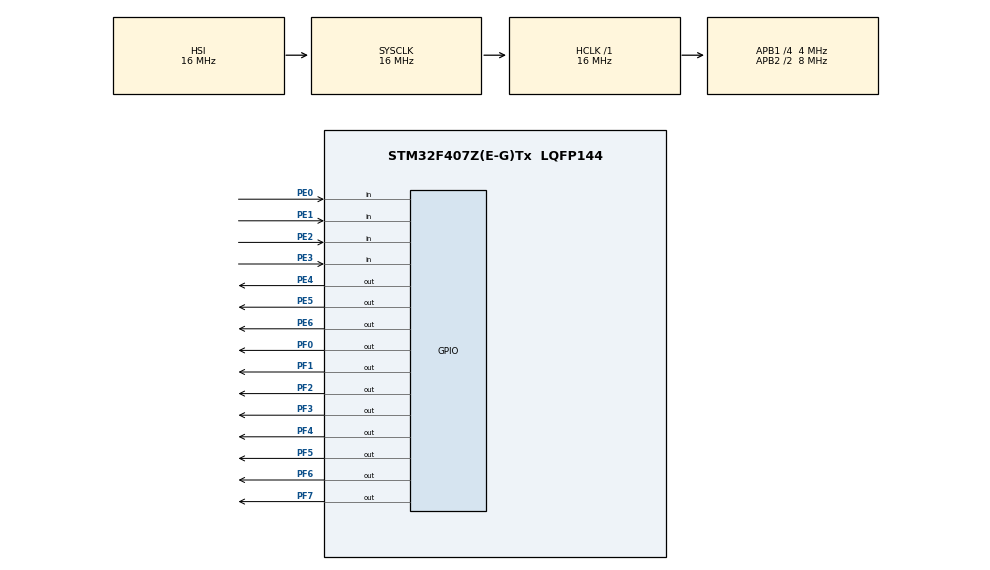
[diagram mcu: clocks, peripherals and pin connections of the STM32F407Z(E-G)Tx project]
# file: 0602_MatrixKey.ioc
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Mcu.Family=STM32F4
Mcu.Name=STM32F407Z(E-G)Tx
Mcu.Package=LQFP144
NVIC.PriorityGroup=NVIC_PRIORITYGROUP_4
NVIC.TIM6_DAC_IRQn=true\:15\:0\:false\:false\:true\:false\:true\:true
NVIC.TimeBase=TIM6_DAC_IRQn
NVIC.TimeBaseIP=TIM6
PA13.Mode=Serial_Wire
PA13.Signal=SYS_JTMS-SWDIO
PA14.Mode=Serial_Wire
PA14.Signal=SYS_JTCK-SWCLK
PE0.GPIO_PuPd=GPIO_PULLUP
PE0.Signal=GPIO_Input
PE1.GPIO_PuPd=GPIO_PULLUP
PE1.Signal=GPIO_Input
PE2.GPIO_PuPd=GPIO_PULLUP
PE2.Signal=GPIO_Input
PE3.GPIO_PuPd=GPIO_PULLUP
PE3.Signal=GPIO_Input
PE4.PinState=GPIO_PIN_SET
PE4.Signal=GPIO_Output
PE5.GPIO_Speed=GPIO_SPEED_FREQ_LOW
PE5.PinState=GPIO_PIN_SET
PE5.Signal=GPIO_Output
PE6.PinState=GPIO_PIN_SET
PE6.Signal=GPIO_Output
PF0.GPIO_Speed=GPIO_SPEED_FREQ_LOW
PF0.PinState=GPIO_PIN_SET
PF0.Signal=GPIO_Output
PF1.PinState=GPIO_PIN_SET
PF1.Signal=GPIO_Output
PF2.PinState=GPIO_PIN_SET
PF2.Signal=GPIO_Output
PF3.PinState=GPIO_PIN_SET
PF3.Signal=GPIO_Output
PF4.PinState=GPIO_PIN_SET
PF4.Signal=GPIO_Output
PF5.PinState=GPIO_PIN_SET
PF5.Signal=GPIO_Output
PF6.PinState=GPIO_PIN_SET
PF6.Signal=GPIO_Output
PF7.PinState=GPIO_PIN_SET
PF7.Signal=GPIO_Output
ProjectManager.HeapSize=0x200
ProjectManager.StackSize=0x400
ProjectManager.TargetToolchain=STM32CubeIDE
RCC.48MHZClocksFreq_Value=84000000
RCC.AHBFreq_Value=16000000
RCC.APB1CLKDivider=RCC_HCLK_DIV4
RCC.APB1Freq_Value=4000000
RCC.APB1TimFreq_Value=8000000
RCC.APB2CLKDivider=RCC_HCLK_DIV2
RCC.APB2Freq_Value=8000000
RCC.APB2TimFreq_Value=16000000
RCC.CortexFreq_Value=16000000
RCC.HCLKFreq_Value=16000000
RCC.HSE_VALUE=8000000
RCC.HSI_VALUE=16000000
RCC.LSE_VALUE=32768
RCC.PLLM=8
RCC.PLLN=168
RCC.SYSCLKFreq_VALUE=16000000
RCC.VCOOutputFreq_Value=336000000
VP_SYS_VS_tim6.Mode=TIM6
board=custom

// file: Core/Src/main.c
/* USER CODE BEGIN Header */

/**
  ******************************************************************************
  * @file           : main.c
  * @brief          : Main program body
  ******************************************************************************
  * @attention
  *
  * Copyright (c) 2026 STMicroelectronics.
  * All rights reserved.
  *
  * This software is licensed under terms that can be found in the LICENSE file
  * in the root directory of this software component.
  * If no LICENSE file comes with this software, it is provided AS-IS.
  *
  ******************************************************************************
  */
/* USER CODE END Header */
#include "main.h"
#include "gpio.h"

/* USER CODE BEGIN PV */
uint8_t KeyScan(void);
void Delay_ms(uint32_t t);

/* USER CODE END PV */

void SystemClock_Config(void);

int main(void)
{

  /* USER CODE BEGIN 1 */
	uint16_t i, KeyVal = 0;
	  uint8_t PreLine[3] = {0, 1, 2};
  /* USER CODE END 1 */

  /* MCU Configuration--------------------------------------------------------*/

  /* Reset of all peripherals, Initializes the Flash interface and the Systick. */
  HAL_Init();

  /* Configure the system clock */
  SystemClock_Config();

  /* Initialize all configured peripherals */
  MX_GPIO_Init();
  /* USER CODE BEGIN 2 */
  GPIOE->ODR = ~(1 << 4);
  /* USER CODE END 2 */

  /* Infinite loop */
  /* USER CODE BEGIN WHILE */
  while (1)
  {
	  for (i = 0; i < 3; i++)
	      {
	        GPIOE->ODR = ~(1 << (i + 4));

	        HAL_Delay(1);

	        if ((GPIOE->IDR & 0x0F) != 0x0F)
	        {
	          HAL_Delay(10);

	          if ((GPIOE->IDR & 0x0F) != 0x0F)
	          {
	            switch ((GPIOE->IDR & 0x0F))
	            {
	              case 0x0E: KeyVal = 4 * PreLine[i] + 1; break;
	              case 0x0D: KeyVal = 4 * PreLine[i] + 2; break;
	              case 0x0B: KeyVal = 4 * PreLine[i] + 3; break;
	              case 0x07: KeyVal = 4 * PreLine[i] + 4; break;
	              default  : break;
	            }

	            // while((GPIOE->IDR & 0x0F) != 0x0F);
	          }
	        }
	      }

	      GPIOF->ODR = ~((KeyVal / 10 << 4) + KeyVal % 10);
    /* USER CODE END WHILE */

  }
}

void SystemClock_Config(void)
{
  RCC_OscInitTypeDef RCC_OscInitStruct = {0};
  RCC_ClkInitTypeDef RCC_ClkInitStruct = {0};

  /** Configure the main internal regulator output voltage
  */
  __HAL_RCC_PWR_CLK_ENABLE();
  __HAL_PWR_VOLTAGESCALING_CONFIG(PWR_REGULATOR_VOLTAGE_SCALE1);

  /** Initializes the RCC Oscillators according to the specified parameters
  * in the RCC_OscInitTypeDef structure.
  */
  RCC_OscInitStruct.OscillatorType = RCC_OSCILLATORTYPE_HSI;
  RCC_OscInitStruct.HSIState = RCC_HSI_ON;
  RCC_OscInitStruct.HSICalibrationValue = RCC_HSICALIBRATION_DEFAULT;
  RCC_OscInitStruct.PLL.PLLState = RCC_PLL_NONE;
  if (HAL_RCC_OscConfig(&RCC_OscInitStruct) != HAL_OK)
  {
    Error_Handler();
  }

  /** Initializes the CPU, AHB and APB buses clocks
  */
  RCC_ClkInitStruct.ClockType = RCC_CLOCKTYPE_HCLK|RCC_CLOCKTYPE_SYSCLK
                              |RCC_CLOCKTYPE_PCLK1|RCC_CLOCKTYPE_PCLK2;
  RCC_ClkInitStruct.SYSCLKSource = RCC_SYSCLKSOURCE_HSI;
  RCC_ClkInitStruct.AHBCLKDivider = RCC_SYSCLK_DIV1;
  RCC_ClkInitStruct.APB1CLKDivider = RCC_HCLK_DIV4;
  RCC_ClkInitStruct.APB2CLKDivider = RCC_HCLK_DIV2;

  if (HAL_RCC_ClockConfig(&RCC_ClkInitStruct, FLASH_LATENCY_0) != HAL_OK)
  {
    Error_Handler();
  }
}

/* USER CODE BEGIN 4 */
void Delay_ms(uint32_t t)
{
	uint32_t i,j;
	for(i=0;i<t;i++)
		for(j=0;j<7200;j++);
}

uint8_t KeyScan(void)
{
	//PE4 第0列
	HAL_GPIO_WritePin(GPIOE, GPIO_PIN_4, GPIO_PIN_RESET);
	if(HAL_GPIO_ReadPin(GPIOE,GPIO_PIN_0)==GPIO_PIN_RESET){Delay_ms(20);while(!HAL_GPIO_ReadPin(GPIOE,GPIO_PIN_0));Delay_ms(20);return 0x01;}
	if(HAL_GPIO_ReadPin(GPIOE,GPIO_PIN_1)==GPIO_PIN_RESET){Delay_ms(20);while(!HAL_GPIO_ReadPin(GPIOE,GPIO_PIN_1));Delay_ms(20);return 0x04;}
	if(HAL_GPIO_ReadPin(GPIOE,GPIO_PIN_2)==GPIO_PIN_RESET){Delay_ms(20);while(!HAL_GPIO_ReadPin(GPIOE,GPIO_PIN_2));Delay_ms(20);return 0x07;}
	HAL_GPIO_WritePin(GPIOE, GPIO_PIN_4, GPIO_PIN_SET);

	//PE5 第1列
	HAL_GPIO_WritePin(GPIOE, GPIO_PIN_5, GPIO_PIN_RESET);
	if(HAL_GPIO_ReadPin(GPIOE,GPIO_PIN_0)==GPIO_PIN_RESET){Delay_ms(20);while(!HAL_GPIO_ReadPin(GPIOE,GPIO_PIN_0));Delay_ms(20);return 0x02;}
	if(HAL_GPIO_ReadPin(GPIOE,GPIO_PIN_1)==GPIO_PIN_RESET){Delay_ms(20);while(!HAL_GPIO_ReadPin(GPIOE,GPIO_PIN_1));Delay_ms(20);return 0x05;}
	if(HAL_GPIO_ReadPin(GPIOE,GPIO_PIN_2)==GPIO_PIN_RESET){Delay_ms(20);while(!HAL_GPIO_ReadPin(GPIOE,GPIO_PIN_2));Delay_ms(20);return 0x08;}
	HAL_GPIO_WritePin(GPIOE, GPIO_PIN_5, GPIO_PIN_SET);

	//PE6 第2列
	HAL_GPIO_WritePin(GPIOE, GPIO_PIN_6, GPIO_PIN_RESET);
	if(HAL_GPIO_ReadPin(GPIOE,GPIO_PIN_0)==GPIO_PIN_RESET){Delay_ms(20);while(!HAL_GPIO_ReadPin(GPIOE,GPIO_PIN_0));Delay_ms(20);return 0x03;}
	if(HAL_GPIO_ReadPin(GPIOE,GPIO_PIN_1)==GPIO_PIN_RESET){Delay_ms(20);while(!HAL_GPIO_ReadPin(GPIOE,GPIO_PIN_1));Delay_ms(20);return 0x06;}
	if(HAL_GPIO_ReadPin(GPIOE,GPIO_PIN_2)==GPIO_PIN_RESET){Delay_ms(20);while(!HAL_GPIO_ReadPin(GPIOE,GPIO_PIN_2));Delay_ms(20);return 0x09;}
	HAL_GPIO_WritePin(GPIOE, GPIO_PIN_6, GPIO_PIN_SET);

	return 0xFF;

}

/* USER CODE END 4 */

void HAL_TIM_PeriodElapsedCallback(TIM_HandleTypeDef *htim)
{
  if (htim->Instance == TIM6)
  {
    HAL_IncTick();
  }
}

void Error_Handler(void)
{
  __disable_irq();
  while (1)
  {
  }
}
